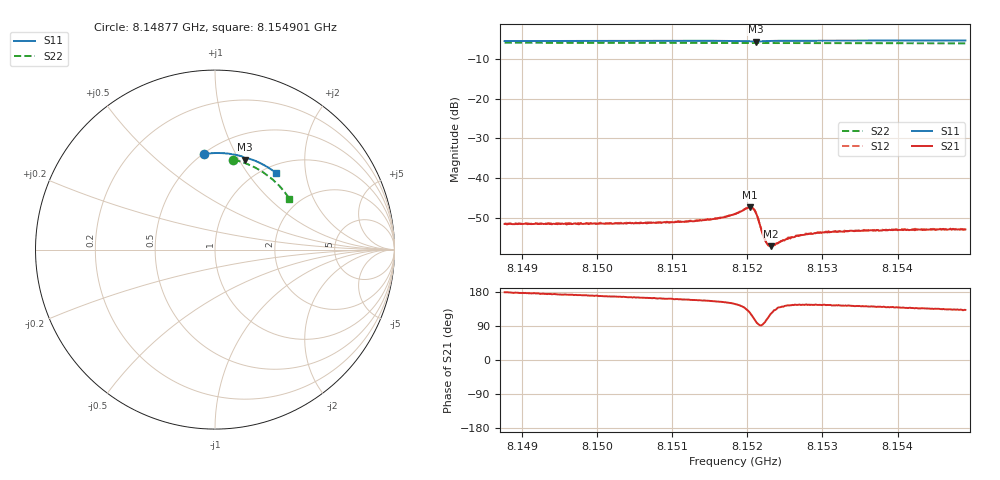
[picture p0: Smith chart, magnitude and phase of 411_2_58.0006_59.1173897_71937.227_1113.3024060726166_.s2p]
#  HZ  S  RI  R  50.00
! Rohde & Schwarz Vector Network Analyzer
! Rohde-Schwarz,ZNB20-2Port,1311601062101988,3.16
! Created: UTC 3/21/2024, 1:08:44 AM
! freq[Hz]  re:S11  im:S11  re:S21  im:S21  re:S12  im:S12  re:S22  im:S22
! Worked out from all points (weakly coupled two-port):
!   401 points, 8.14877 GHz to 8.154901 GHz, reference 50 ohm
!   highest |S21| = -47.42 dB at 8.152035 GHz (marker M1); lowest = -57.2 dB at 8.152311 GHz (marker M2)
!   lowest |S11| = -5.5 dB at 8.152112 GHz (marker M3), VSWR 3.24, Z = 37.9 + j52.8 ohm
!   |S11| at or under -10 dB: nowhere
!   |S22| runs from -6.0 to -5.8 dB; largest |S21 - S12| = 0.00011
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8.1487704e9  -0.0598 0.5332  -0.00262 5.29e-05  -0.00266 0.000105  0.1028 0.5009
8.1497973e9  0.0116 0.5382  -0.0026 0.00042  -0.00264 0.000478  0.1665 0.4821
8.1508243e9  0.0831 0.5334  -0.0026 0.000811  -0.00262 0.000876  0.2267 0.4553
8.1511921e9  0.1087 0.5294  -0.00262 0.000982  -0.00263 0.00105  0.2472 0.4439
8.1515293e9  0.1323 0.5242  -0.00274 0.00124  -0.00277 0.00132  0.2656 0.4325
8.1516979e9  0.1445 0.5208  -0.00284 0.00149  -0.00283 0.00154  0.2745 0.4265
8.1518359e9  0.1548 0.517  -0.00296 0.00185  -0.00296 0.00192  0.2818 0.4214
8.1520352e9  0.167 0.5054  -0.00241 0.00351  -0.00236 0.00354  0.2918 0.4137
8.1520811e9  0.1661 0.5023  -0.00148 0.00378  -0.00143 0.00383  0.2941 0.4119
8.1521118e9  0.1644 0.502  -0.000772 0.00356  -0.000718 0.00363  0.2955 0.4108
8.1521424e9  0.1637 0.5035  -0.000274 0.00306  -0.000197 0.00311  0.2969 0.4097
8.1522038e9  0.1661 0.5072  -0.000124 0.00194  -9.27e-05 0.00196  0.3 0.4076
8.1522344e9  0.1685 0.5085  -0.000283 0.00162  -0.000295 0.00166  0.3017 0.4065
8.1522804e9  0.1726 0.5093  -0.00055 0.00128  -0.000528 0.00132  0.304 0.4047
8.152311e9  0.1753 0.5093  -0.00072 0.00117  -0.000718 0.0012  0.3056 0.4035
8.152357e9  0.179 0.5091  -0.000934 0.00106  -0.000896 0.00111  0.3078 0.4017
8.1525716e9  0.1954 0.5053  -0.0014 0.001  -0.00143 0.00103  0.3183 0.3931
8.1526789e9  0.203 0.5027  -0.00153 0.00104  -0.00155 0.00108  0.3236 0.3887
8.1528628e9  0.2154 0.4981  -0.00162 0.00111  -0.00162 0.00114  0.3322 0.3809
8.1531387e9  0.2335 0.4906  -0.0017 0.00123  -0.00167 0.00127  0.3449 0.3687
8.1538898e9  0.2801 0.4669  -0.00167 0.00145  -0.00169 0.00148  0.3769 0.3339
8.1549014e9  0.3383 0.4284  -0.0015 0.00166  -0.0015 0.00168  0.4144 0.283
